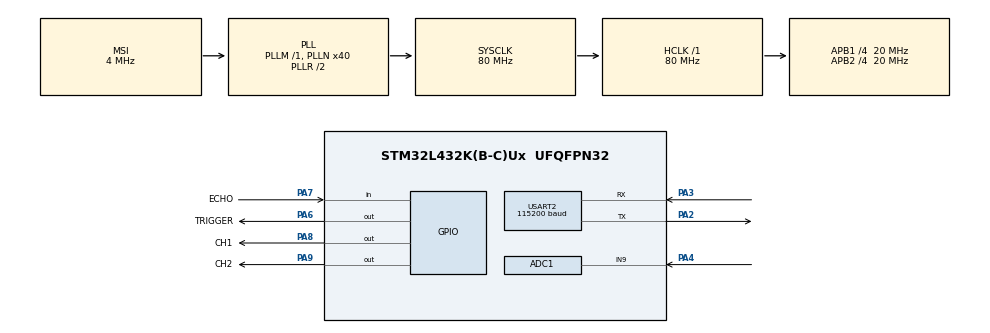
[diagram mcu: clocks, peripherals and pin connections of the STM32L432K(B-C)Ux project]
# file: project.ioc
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ADC1.Channel-10\#ChannelRegularConversion=ADC_CHANNEL_9
ADC1.NbrOfConversionFlag=1
ADC1.OffsetNumber-10\#ChannelRegularConversion=ADC_OFFSET_NONE
ADC1.Rank-10\#ChannelRegularConversion=1
ADC1.SamplingTime-10\#ChannelRegularConversion=ADC_SAMPLETIME_2CYCLES_5
ADC1.master=1
Mcu.Family=STM32L4
Mcu.Name=STM32L432K(B-C)Ux
Mcu.Package=UFQFPN32
NVIC.PriorityGroup=NVIC_PRIORITYGROUP_4
NVIC.USART2_IRQn=true\:0\:0\:false\:false\:true\:true\:true\:true
PA2.Mode=Asynchronous
PA2.Signal=USART2_TX
PA3.Mode=Asynchronous
PA3.Signal=USART2_RX
PA4.Signal=ADCx_IN9
PA6.GPIO_Label=TRIGGER
PA6.Signal=GPIO_Output
PA7.GPIO_Label=ECHO
PA7.Signal=GPIO_Input
PA8.GPIO_Label=CH1
PA8.Signal=GPIO_Output
PA9.GPIO_Label=CH2
PA9.Signal=GPIO_Output
ProjectManager.HeapSize=0x200
ProjectManager.StackSize=0x400
ProjectManager.TargetToolchain=STM32CubeIDE
RCC.ADCFreq_Value=32000000
RCC.AHBFreq_Value=80000000
RCC.APB1CLKDivider=RCC_HCLK_DIV4
RCC.APB1Freq_Value=20000000
RCC.APB1TimFreq_Value=40000000
RCC.APB2CLKDivider=RCC_HCLK_DIV4
RCC.APB2Freq_Value=20000000
RCC.APB2TimFreq_Value=40000000
RCC.CortexFreq_Value=80000000
RCC.HCLKFreq_Value=80000000
RCC.HSE_VALUE=8000000
RCC.HSI48_VALUE=48000000
RCC.HSI_VALUE=16000000
RCC.LSE_VALUE=32768
RCC.MSI_VALUE=4000000
RCC.PLLN=40
RCC.PLLSAI1N=16
RCC.SYSCLKFreq_VALUE=80000000
RCC.SYSCLKSource=RCC_SYSCLKSOURCE_PLLCLK
RCC.USBFreq_Value=32000000
RCC.VCOOutputFreq_Value=160000000
SH.ADCx_IN9.0=ADC1_IN9,IN9-Single-Ended
TIM1.Prescaler=39
TIM16.Prescaler=39999
USART2.BaudRate=115200
USART2.VirtualMode-Asynchronous=VM_ASYNC
VP_TIM16_VS_ClockSourceINT.Mode=Enable_Timer
VP_TIM1_VS_ClockSourceINT.Mode=Internal
board=custom

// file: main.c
/* USER CODE BEGIN Header */
/**
  ******************************************************************************
  * @file           : main.c
  * @brief          : Main program body
  ******************************************************************************
  * @attention
  *
  * Copyright (c) 2024 STMicroelectronics.
  * All rights reserved.
  *
  * This software is licensed under terms that can be found in the LICENSE file
  * in the root directory of this software component.
  * If no LICENSE file comes with this software, it is provided AS-IS.
  *
  ******************************************************************************
  */
/* USER CODE END Header */
#include "main.h"

/* USER CODE BEGIN Includes */
#include "chunk.h"
/* USER CODE END Includes */

ADC_HandleTypeDef hadc1;

TIM_HandleTypeDef htim1;
TIM_HandleTypeDef htim16;

UART_HandleTypeDef huart2;

/* USER CODE BEGIN PV */
Chunk chunks[2];
uint32_t activeChunk = 0;
uint32_t dataIndex = 0;
int keepRecording;
char command;
/* USER CODE END PV */

void SystemClock_Config(void);
static void MX_GPIO_Init(void);
static void MX_ADC1_Init(void);
static void MX_TIM16_Init(void);
static void MX_TIM1_Init(void);
static void MX_USART2_UART_Init(void);

/* USER CODE BEGIN 0 */
uint32_t milisecondTimerStart;
uint32_t milisecondTimerEnd;
void milisecondStart()
{
	milisecondTimerStart = __HAL_TIM_GET_COUNTER (&htim16);
}
void milisecondEnd()
{
	milisecondTimerEnd = __HAL_TIM_GET_COUNTER (&htim16);
}
uint32_t didMilisecondChange()
{
	return milisecondTimerEnd - milisecondTimerStart;
}
void HAL_UART_TxCpltCallback(UART_HandleTypeDef *huart)
{
	//HAL_GPIO_TogglePin(CH2_GPIO_Port, CH2_Pin);
}
uint8_t buff[8000];
/* USER CODE END 0 */

int main(void)
{

  /* USER CODE BEGIN 1 */
  for(int i = 0; i < 8000 - 2; i++)
  {
	  buff[i] = 'h';
  }
  buff[7998] = '\r';
  buff[7999] = '\n';
  /* USER CODE END 1 */

  /* MCU Configuration--------------------------------------------------------*/

  /* Reset of all peripherals, Initializes the Flash interface and the Systick. */
  HAL_Init();

  /* USER CODE BEGIN Init */
  chunks[0].syncGuard = 0xFF00AABBCCDDEEFF;
  chunks[1].syncGuard = 0xFF00AABBCCDDEEFF;
  activeChunk = 0;
  dataIndex = 0;
  keepRecording = 1;
  /* USER CODE END Init */

  /* Configure the system clock */
  SystemClock_Config();

  /* Initialize all configured peripherals */
  MX_GPIO_Init();
  MX_ADC1_Init();
  MX_TIM16_Init();
  MX_TIM1_Init();
  MX_USART2_UART_Init();
  /* USER CODE BEGIN 2 */
  HAL_TIM_Base_Start(&htim1);
  __HAL_TIM_SET_COUNTER(&htim1, 0);
  HAL_TIM_Base_Start(&htim16);
  __HAL_TIM_SET_COUNTER(&htim16, 0);
  HAL_UART_Receive_IT(&huart2, &command, sizeof(command));
  HAL_GPIO_WritePin(CH1_GPIO_Port, CH1_Pin, 1);
  /* USER CODE END 2 */

  /* Infinite loop */
  /* USER CODE BEGIN WHILE */
  while (1)
  {
	  /*
	  HAL_GPIO_WritePin(TRIGGER_GPIO_Port, TRIGGER_Pin, GPIO_PIN_SET);  // pull the TRIG pin HIGH
	  __HAL_TIM_SET_COUNTER(&htim16, 0);
	  while (__HAL_TIM_GET_COUNTER (&htim16) < 10);  // wait for 10 us
	  HAL_GPIO_WritePin(TRIGGER_GPIO_Port, TRIGGER_Pin, GPIO_PIN_RESET);  // pull the TRIG pin low

	  int pMillis = HAL_GetTick(); // used this to avoid infinite while loop  (for timeout)
	  // wait for the echo pin to go high
	  while (!(HAL_GPIO_ReadPin (ECHO_GPIO_Port, ECHO_Pin)) && pMillis + 10 >  HAL_GetTick());
	  int time1 = __HAL_TIM_GET_COUNTER (&htim16);

	  pMillis = HAL_GetTick(); // used this to avoid infinite while loop (for timeout)
	  // wait for the echo pin to go low
	  while ((HAL_GPIO_ReadPin (ECHO_GPIO_Port, ECHO_Pin)) && pMillis + 50 > HAL_GetTick());
	  int time2 = __HAL_TIM_GET_COUNTER (&htim16);

	  int distance = time2-time1;
	  HAL_Delay(60);

	  uint8_t data[8];
	  for(int i = 0; i < 5; i++)
	  {
		  data[i] = ' ';
	  }
	  data[5] = '\r';
	  data[6] = '\n';
	  data[7] = '\0';
	  for(int i = 4; i >=0; i--)
	  {
		  if(distance >= 1)
		  {
			  data[i] = (uint8_t)(distance % 10) + '0';
			  distance /= 10;
		  }
		  else
		  {
			  break;
		  }
	  }

	  HAL_UART_Transmit(&huart2, data, 8, 1000);
	  */

	  __HAL_TIM_SET_COUNTER(&htim1, 0);
	  while(keepRecording)
	  {
		  HAL_ADC_Start(&hadc1);
		  HAL_ADC_PollForConversion(&hadc1,HAL_MAX_DELAY);
		  int16_t aVal = (uint16_t)HAL_ADC_GetValue(&hadc1);

		  chunks[activeChunk].data[dataIndex] = aVal;
		  dataIndex++;

		  if(dataIndex >= CHUNK_SIZE)
		  {
			  chunks[activeChunk].numValues = CHUNK_SIZE;
			  HAL_UART_Transmit_IT(&huart2, (uint8_t*)&chunks[activeChunk], sizeof(Chunk));
			  activeChunk = !activeChunk;
			  dataIndex = 0;
			  //HAL_GPIO_TogglePin(CH1_GPIO_Port, CH1_Pin);
			  //break;
		  }

		  while(__HAL_TIM_GET_COUNTER(&htim1) < SAMPLE_TIME);
		  __HAL_TIM_SET_COUNTER(&htim1, 0);
	  }

    /* USER CODE END WHILE */

  }
}

void SystemClock_Config(void)
{
  RCC_OscInitTypeDef RCC_OscInitStruct = {0};
  RCC_ClkInitTypeDef RCC_ClkInitStruct = {0};

  /** Configure the main internal regulator output voltage
  */
  if (HAL_PWREx_ControlVoltageScaling(PWR_REGULATOR_VOLTAGE_SCALE1) != HAL_OK)
  {
    Error_Handler();
  }

  /** Initializes the RCC Oscillators according to the specified parameters
  * in the RCC_OscInitTypeDef structure.
  */
  RCC_OscInitStruct.OscillatorType = RCC_OSCILLATORTYPE_MSI;
  RCC_OscInitStruct.MSIState = RCC_MSI_ON;
  RCC_OscInitStruct.MSICalibrationValue = 0;
  RCC_OscInitStruct.MSIClockRange = RCC_MSIRANGE_6;
  RCC_OscInitStruct.PLL.PLLState = RCC_PLL_ON;
  RCC_OscInitStruct.PLL.PLLSource = RCC_PLLSOURCE_MSI;
  RCC_OscInitStruct.PLL.PLLM = 1;
  RCC_OscInitStruct.PLL.PLLN = 40;
  RCC_OscInitStruct.PLL.PLLP = RCC_PLLP_DIV7;
  RCC_OscInitStruct.PLL.PLLQ = RCC_PLLQ_DIV2;
  RCC_OscInitStruct.PLL.PLLR = RCC_PLLR_DIV2;
  if (HAL_RCC_OscConfig(&RCC_OscInitStruct) != HAL_OK)
  {
    Error_Handler();
  }

  /** Initializes the CPU, AHB and APB buses clocks
  */
  RCC_ClkInitStruct.ClockType = RCC_CLOCKTYPE_HCLK|RCC_CLOCKTYPE_SYSCLK
                              |RCC_CLOCKTYPE_PCLK1|RCC_CLOCKTYPE_PCLK2;
  RCC_ClkInitStruct.SYSCLKSource = RCC_SYSCLKSOURCE_PLLCLK;
  RCC_ClkInitStruct.AHBCLKDivider = RCC_SYSCLK_DIV1;
  RCC_ClkInitStruct.APB1CLKDivider = RCC_HCLK_DIV4;
  RCC_ClkInitStruct.APB2CLKDivider = RCC_HCLK_DIV4;

  if (HAL_RCC_ClockConfig(&RCC_ClkInitStruct, FLASH_LATENCY_4) != HAL_OK)
  {
    Error_Handler();
  }
}

static void MX_ADC1_Init(void)
{

  ADC_ChannelConfTypeDef sConfig = {0};

  /** Common config
  */
  hadc1.Instance = ADC1;
  hadc1.Init.ClockPrescaler = ADC_CLOCK_ASYNC_DIV1;
  hadc1.Init.Resolution = ADC_RESOLUTION_12B;
  hadc1.Init.DataAlign = ADC_DATAALIGN_RIGHT;
  hadc1.Init.ScanConvMode = ADC_SCAN_DISABLE;
  hadc1.Init.EOCSelection = ADC_EOC_SINGLE_CONV;
  hadc1.Init.LowPowerAutoWait = DISABLE;
  hadc1.Init.ContinuousConvMode = DISABLE;
  hadc1.Init.NbrOfConversion = 1;
  hadc1.Init.DiscontinuousConvMode = DISABLE;
  hadc1.Init.ExternalTrigConv = ADC_SOFTWARE_START;
  hadc1.Init.ExternalTrigConvEdge = ADC_EXTERNALTRIGCONVEDGE_NONE;
  hadc1.Init.DMAContinuousRequests = DISABLE;
  hadc1.Init.Overrun = ADC_OVR_DATA_PRESERVED;
  hadc1.Init.OversamplingMode = DISABLE;
  if (HAL_ADC_Init(&hadc1) != HAL_OK)
  {
    Error_Handler();
  }

  /** Configure Regular Channel
  */
  sConfig.Channel = ADC_CHANNEL_9;
  sConfig.Rank = ADC_REGULAR_RANK_1;
  sConfig.SamplingTime = ADC_SAMPLETIME_2CYCLES_5;
  sConfig.SingleDiff = ADC_SINGLE_ENDED;
  sConfig.OffsetNumber = ADC_OFFSET_NONE;
  sConfig.Offset = 0;
  if (HAL_ADC_ConfigChannel(&hadc1, &sConfig) != HAL_OK)
  {
    Error_Handler();
  }

}

static void MX_TIM1_Init(void)
{

  TIM_ClockConfigTypeDef sClockSourceConfig = {0};
  TIM_MasterConfigTypeDef sMasterConfig = {0};

  htim1.Instance = TIM1;
  htim1.Init.Prescaler = 39;
  htim1.Init.CounterMode = TIM_COUNTERMODE_UP;
  htim1.Init.Period = 65535;
  htim1.Init.ClockDivision = TIM_CLOCKDIVISION_DIV1;
  htim1.Init.RepetitionCounter = 0;
  htim1.Init.AutoReloadPreload = TIM_AUTORELOAD_PRELOAD_DISABLE;
  if (HAL_TIM_Base_Init(&htim1) != HAL_OK)
  {
    Error_Handler();
  }
  sClockSourceConfig.ClockSource = TIM_CLOCKSOURCE_INTERNAL;
  if (HAL_TIM_ConfigClockSource(&htim1, &sClockSourceConfig) != HAL_OK)
  {
    Error_Handler();
  }
  sMasterConfig.MasterOutputTrigger = TIM_TRGO_RESET;
  sMasterConfig.MasterOutputTrigger2 = TIM_TRGO2_RESET;
  sMasterConfig.MasterSlaveMode = TIM_MASTERSLAVEMODE_DISABLE;
  if (HAL_TIMEx_MasterConfigSynchronization(&htim1, &sMasterConfig) != HAL_OK)
  {
    Error_Handler();
  }

}

static void MX_TIM16_Init(void)
{

  htim16.Instance = TIM16;
  htim16.Init.Prescaler = 39999;
  htim16.Init.CounterMode = TIM_COUNTERMODE_UP;
  htim16.Init.Period = 65535;
  htim16.Init.ClockDivision = TIM_CLOCKDIVISION_DIV1;
  htim16.Init.RepetitionCounter = 0;
  htim16.Init.AutoReloadPreload = TIM_AUTORELOAD_PRELOAD_DISABLE;
  if (HAL_TIM_Base_Init(&htim16) != HAL_OK)
  {
    Error_Handler();
  }

}

static void MX_USART2_UART_Init(void)
{

  huart2.Instance = USART2;
  huart2.Init.BaudRate = 115200;
  huart2.Init.WordLength = UART_WORDLENGTH_8B;
  huart2.Init.StopBits = UART_STOPBITS_1;
  huart2.Init.Parity = UART_PARITY_NONE;
  huart2.Init.Mode = UART_MODE_TX_RX;
  huart2.Init.HwFlowCtl = UART_HWCONTROL_NONE;
  huart2.Init.OverSampling = UART_OVERSAMPLING_16;
  huart2.Init.OneBitSampling = UART_ONE_BIT_SAMPLE_DISABLE;
  huart2.AdvancedInit.AdvFeatureInit = UART_ADVFEATURE_NO_INIT;
  if (HAL_UART_Init(&huart2) != HAL_OK)
  {
    Error_Handler();
  }

}

static void MX_GPIO_Init(void)
{
  GPIO_InitTypeDef GPIO_InitStruct = {0};

  /* GPIO Ports Clock Enable */
  __HAL_RCC_GPIOA_CLK_ENABLE();

  /*Configure GPIO pin Output Level */
  HAL_GPIO_WritePin(GPIOA, TRIGGER_Pin|CH1_Pin|CH2_Pin, GPIO_PIN_RESET);

  /*Configure GPIO pins : TRIGGER_Pin CH1_Pin CH2_Pin */
  GPIO_InitStruct.Pin = TRIGGER_Pin|CH1_Pin|CH2_Pin;
  GPIO_InitStruct.Mode = GPIO_MODE_OUTPUT_PP;
  GPIO_InitStruct.Pull = GPIO_NOPULL;
  GPIO_InitStruct.Speed = GPIO_SPEED_FREQ_LOW;
  HAL_GPIO_Init(GPIOA, &GPIO_InitStruct);

  /*Configure GPIO pin : ECHO_Pin */
  GPIO_InitStruct.Pin = ECHO_Pin;
  GPIO_InitStruct.Mode = GPIO_MODE_INPUT;
  GPIO_InitStruct.Pull = GPIO_NOPULL;
  HAL_GPIO_Init(ECHO_GPIO_Port, &GPIO_InitStruct);

}

/* USER CODE BEGIN 4 */
void HAL_UART_RxCpltCallback(UART_HandleTypeDef *huart)
{
	UNUSED(huart);
	HAL_GPIO_TogglePin(CH2_GPIO_Port, CH2_Pin);
	HAL_UART_Receive_IT(&huart2, &command, sizeof(command));

}
/* USER CODE END 4 */

void Error_Handler(void)
{
  __disable_irq();
  while (1)
  {
  }
}
